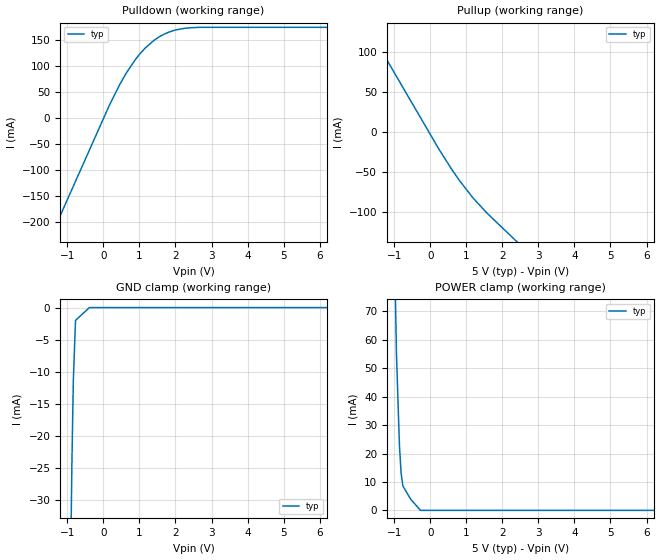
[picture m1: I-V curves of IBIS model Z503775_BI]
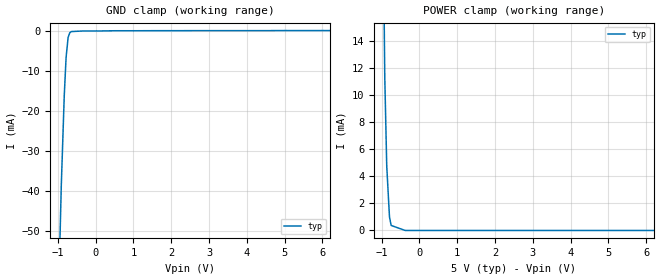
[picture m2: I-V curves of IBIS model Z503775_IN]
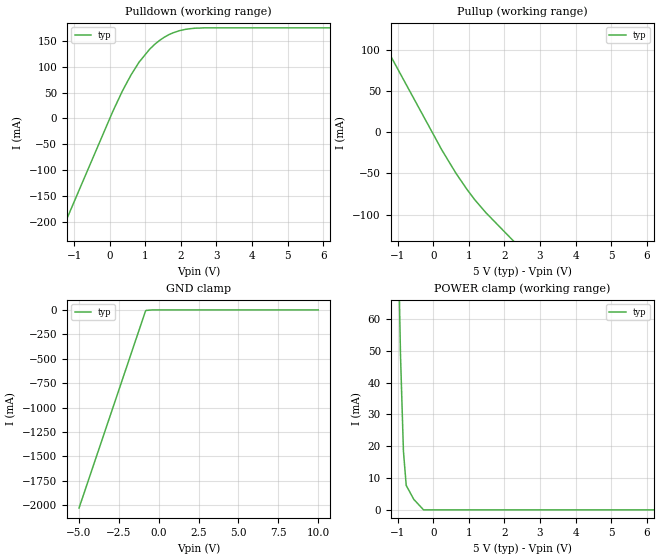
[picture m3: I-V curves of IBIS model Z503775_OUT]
| YOU ARE ONLY AUTHORIZED TO USE THIS SOFTWARE
| ACCORDING TO LICENSOR'S LICENSE RESTRICTIONS.
[IBIS Ver] 3.1
[File Name] mc74ac299n_5.ibs
[File Rev] 2.0
[Source] Measured and created by ICX Technology
[Date] Friday 7/14/00 9:07:59 AM
[Copyright]
| (C) COPYRIGHT 1993-2000
| MENTOR GRAPHICS CORPORATION
| ICX STANDARD LIBRARY, ICX PROJECT MODELING,
| ICX CUSTOM MODELING, ICX VENDOR MODEL
| ALL RIGHTS RESERVED.
| THE FOLLOWING ARE TRADEMARKS OR SERVICE MARKS OF
| MENTOR GRAPHICS CORPORATION:ICX (R), ICX STANDARD
| LIBRARY(R), ICX PROJECT MODELING(R), ICX CUSTOM
| MODELING(R), qualityIBIS(TM), MODELVIEWER(TM),
| AND MODELEDITOR(TM)
| ALL COPIES OF SOFTWARE, INCLUDING BUT NOT LIMITED TO
| ANY MODIFICATIONS, ENHANCEMENTS OR DERIVATIVE WORKS,
| MUST CONTAIN ALL MENTOR GRAPHICS CORPORATION'S
| NOTICES AND LEGENDS, INCLUDING THOSE EMBEDDED IN
| SOFTWARE AND THOSE AFFIXED TO SOFTWARE MEDIUM
| AND CONTAINER, AS RECEIVED FROM MENTOR GRAPHICS
| CORPORATION.
|  ZAP Model Builder 2.7
[Component] MC74AC299N_5
[Manufacturer] OnSemiconductor
[Package]
| variable   typ   min   max
R_pkg  .216ohms NA NA
L_pkg  5.76nH NA NA
C_pkg  1.29pF NA NA
[Pin] signal_name  model_name  R_pin  L_pin C_pin
1 S0 Z503775_IN .232 9.76n 1.87p
2 _G1 Z503775_IN .224 7.26n 1.58p
3 _G2 Z503775_IN .216 5.26n 1.29p
4 G_QG Z503775_BI .208 3.76n 1.0p
5 E_QE Z503775_BI .2 2.76n .71p
6 C_QC Z503775_BI .2 2.76n .71p
7 A_QA Z503775_BI .208 3.76n 1.0p
8 QAP Z503775_OUT .216 5.26n 1.29p
9 _CLR Z503775_IN .224 7.26n 1.58p
10 GROUND GND .232 9.76n 1.87p
11 SR Z503775_IN .232 9.76n 1.87p
12 CLK Z503775_IN .224 7.26n 1.58p
13 B_QB Z503775_BI .216 5.26n 1.29p
14 D_QD Z503775_BI .208 3.76n 1.0p
15 F_QF Z503775_BI .2 2.76n .71p
16 H_QH Z503775_BI .2 2.76n .71p
17 QH Z503775_OUT .208 3.76n 1.0p
18 SL Z503775_IN .216 5.26n 1.29p
19 S1 Z503775_IN .224 7.26n 1.58p
20 VCC POWER .232 9.76n 1.87p
| Models and submodels in the file (3): Z503775_BI (I/O), Z503775_IN (Input), Z503775_OUT (Output)
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| (C) COPYRIGHT 1993-2000
| MENTOR GRAPHICS CORPORATION
| ICX STANDARD LIBRARY, ICX PROJECT MODELING,
| ICX CUSTOM MODELING, ICX VENDOR MODEL
| ALL RIGHTS RESERVED.
| THE FOLLOWING ARE TRADEMARKS OR SERVICE MARKS OF
| MENTOR GRAPHICS CORPORATION:ICX (R), ICX STANDARD
| LIBRARY(R), ICX PROJECT MODELING(R), ICX CUSTOM
| MODELING(R), qualityIBIS(TM), MODELVIEWER(TM),
| AND MODELEDITOR(TM)
| ALL COPIES OF SOFTWARE, INCLUDING BUT NOT LIMITED TO
| ANY MODIFICATIONS, ENHANCEMENTS OR DERIVATIVE WORKS,
| MUST CONTAIN ALL MENTOR GRAPHICS CORPORATION'S
| NOTICES AND LEGENDS, INCLUDING THOSE EMBEDDED IN
| SOFTWARE AND THOSE AFFIXED TO SOFTWARE MEDIUM
| AND CONTAINER, AS RECEIVED FROM MENTOR GRAPHICS
| CORPORATION.
| Model Application Version 1.89 2/18/99.
[Model] Z503775_BI
Model_type I/O
Vinl=1.500V
Vinh=3.500V
Vref=0.000V
Rref=500.0ohms
Cref=50.00pF
Vmeas=2.500V
C_comp 8.000pF NA NA
| variable typ   min   max
[Voltage Range] 5.000V NA NA
[POWER Clamp Reference] 5.000V NA NA
[Pullup Reference] 5.000V NA NA
[Pulldown Reference] 0.000V NA NA
[GND Clamp Reference] 0.000V NA NA
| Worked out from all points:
|   slope of the pulldown table from 0 to 0.75 V, typ, clamps not added: 7.54 ohm
|   slope of the pullup table from 0 to 0.75 V, typ, clamps not added: 13.9 ohm
[GND Clamp]
-5V       -1.863A    NA         NA
-874mV    -24.36mA   NA         NA
-835mV    -11.52mA   NA         NA
-773.5mV  -1.996mA   NA         NA
-386.8mV  0A         NA         NA
10V       0A         NA         NA
[Pulldown]
-5V       -778.6mA   NA         NA
162.6mV   24.88mA    NA         NA
454.8mV   65.44mA    NA         NA
631mV     86.87mA    NA         NA
991.9mV   122.5mA    NA         NA
1.158V    135.1mA    NA         NA
1.401V    150mA      NA         NA
1.802V    165.5mA    NA         NA
2.017V    170.3mA    NA         NA
2.592V    175mA      NA         NA
10V       175.1mA    NA         NA
[Pullup]
-5V       384.6mA    NA         NA
240mV     -21.46mA   NA         NA
611mV     -47.8mA    NA         NA
816mV     -61.2mA    NA         NA
1.172V    -81.88mA   NA         NA
1.572V    -101.6mA   NA         NA
10V       -465.5mA   NA         NA
[POWER Clamp]
-5V       2.834A     NA         NA
-938mV    54.87mA    NA         NA
-855mV    22.64mA    NA         NA
-811mV    13.4mA     NA         NA
-762mV    8.626mA    NA         NA
-547mV    3.988mA    NA         NA
-273.5mV  0A         NA         NA
10V       0A         NA         NA
[Ramp]
| variable typ min max
dV/dt_r 2.944/887.5p NA NA
dV/dt_f 2.944/1.677n NA NA
R_load = 500.0Ohms
| (C) COPYRIGHT 1993-2000
| MENTOR GRAPHICS CORPORATION
| ICX STANDARD LIBRARY, ICX PROJECT MODELING,
| ICX CUSTOM MODELING, ICX VENDOR MODEL
| ALL RIGHTS RESERVED.
| THE FOLLOWING ARE TRADEMARKS OR SERVICE MARKS OF
| MENTOR GRAPHICS CORPORATION:ICX (R), ICX STANDARD
| LIBRARY(R), ICX PROJECT MODELING(R), ICX CUSTOM
| MODELING(R), qualityIBIS(TM), MODELVIEWER(TM),
| AND MODELEDITOR(TM)
| ALL COPIES OF SOFTWARE, INCLUDING BUT NOT LIMITED TO
| ANY MODIFICATIONS, ENHANCEMENTS OR DERIVATIVE WORKS,
| MUST CONTAIN ALL MENTOR GRAPHICS CORPORATION'S
| NOTICES AND LEGENDS, INCLUDING THOSE EMBEDDED IN
| SOFTWARE AND THOSE AFFIXED TO SOFTWARE MEDIUM
| AND CONTAINER, AS RECEIVED FROM MENTOR GRAPHICS
| CORPORATION.
| Model Application Version 1.89 2/18/99.
[Model] Z503775_IN
Model_type Input
Vinl = 1.500V
Vinh = 3.500V
C_comp 4.000pF NA NA
| variable typ   min   max
[Voltage Range] 5.000V NA NA
[GND Clamp Reference] 0.000V NA NA
[POWER Clamp Reference] 5.000V NA NA
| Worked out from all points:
|   GND clamp passes 1 mA (typ) near -0.71 V on its own axis
|   POWER clamp passes 1 mA (typ) near -0.79 V on its own axis
[GND Clamp]
-5V       -3.395A    NA         NA
-1.005V   -75.42mA   NA         NA
-907.8mV  -38.37mA   NA         NA
-830.1mV  -16.1mA    NA         NA
-781.3mV  -6.498mA   NA         NA
-727.8mV  -1.529mA   NA         NA
-684.8mV  -405.8uA   NA         NA
-645.3mV  -78.77uA   NA         NA
507.6mV   126uA      NA         NA
10V       175.3uA    NA         NA
[POWER Clamp]
-5V       2.395A     NA         NA
-1.131V   92.72mA    NA         NA
-1.011V   37.45mA    NA         NA
-916mV    11.39mA    NA         NA
-864mV    4.802mA    NA         NA
-791mV    994.7uA    NA         NA
-747mV    372uA      NA         NA
-373.5mV  0A         NA         NA
10V       0A         NA         NA
| (C) COPYRIGHT 1993-2000
| MENTOR GRAPHICS CORPORATION
| ICX STANDARD LIBRARY, ICX PROJECT MODELING,
| ICX CUSTOM MODELING, ICX VENDOR MODEL
| ALL RIGHTS RESERVED.
| THE FOLLOWING ARE TRADEMARKS OR SERVICE MARKS OF
| MENTOR GRAPHICS CORPORATION:ICX (R), ICX STANDARD
| LIBRARY(R), ICX PROJECT MODELING(R), ICX CUSTOM
| MODELING(R), qualityIBIS(TM), MODELVIEWER(TM),
| AND MODELEDITOR(TM)
| ALL COPIES OF SOFTWARE, INCLUDING BUT NOT LIMITED TO
| ANY MODIFICATIONS, ENHANCEMENTS OR DERIVATIVE WORKS,
| MUST CONTAIN ALL MENTOR GRAPHICS CORPORATION'S
| NOTICES AND LEGENDS, INCLUDING THOSE EMBEDDED IN
| SOFTWARE AND THOSE AFFIXED TO SOFTWARE MEDIUM
| AND CONTAINER, AS RECEIVED FROM MENTOR GRAPHICS
| CORPORATION.
| Model Application Version 1.89 2/18/99.
[Model] Z503775_OUT
Model_type Output
Vref=0.000V
Rref=500.0ohms
Cref=50.00pF
Vmeas=2.500V
C_comp 8.000pF NA NA
| variable typ   min   max
[Voltage Range] 5.000V NA NA
[POWER Clamp Reference] 5.000V NA NA
[Pullup Reference] 5.000V NA NA
[Pulldown Reference] 0.000V NA NA
[GND Clamp Reference] 0.000V NA NA
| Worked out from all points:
|   slope of the pulldown table from 0 to 0.75 V, typ, clamps not added: 7.45 ohm
|   slope of the pullup table from 0 to 0.75 V, typ, clamps not added: 13.8 ohm
[GND Clamp]
-5V       -2.028A    NA         NA
-843.6mV  -17.32mA   NA         NA
-804.1mV  -5.461mA   NA         NA
-402mV    0A         NA         NA
10V       0A         NA         NA
[Pulldown]
-5V       -802.5mA   NA         NA
74.31mV   11.83mA    NA         NA
351.7mV   52.52mA    NA         NA
595.7mV   83.72mA    NA         NA
825.3mV   108.8mA    NA         NA
1.121V    133.6mA    NA         NA
1.271V    143.6mA    NA         NA
1.534V    156.9mA    NA         NA
1.782V    165.4mA    NA         NA
2.137V    172.2mA    NA         NA
2.65V     175mA      NA         NA
10V       175mA      NA         NA
[Pullup]
-5V       392.8mA    NA         NA
240mV     -21.65mA   NA         NA
630mV     -49.41mA   NA         NA
948mV     -69.51mA   NA         NA
1.172V    -82.32mA   NA         NA
1.479V    -97.67mA   NA         NA
10V       -474.4mA   NA         NA
[POWER Clamp]
-5V       3.084A     NA         NA
-1.016V   103.2mA    NA         NA
-923mV    48.76mA    NA         NA
-840mV    18.42mA    NA         NA
-762mV    7.684mA    NA         NA
-547mV    3.27mA     NA         NA
-273.5mV  0A         NA         NA
10V       0A         NA         NA
[Ramp]
| variable typ min max
dV/dt_r 2.945/906.6p NA NA
dV/dt_f 2.945/742.4p NA NA
R_load = 500.0Ohms
